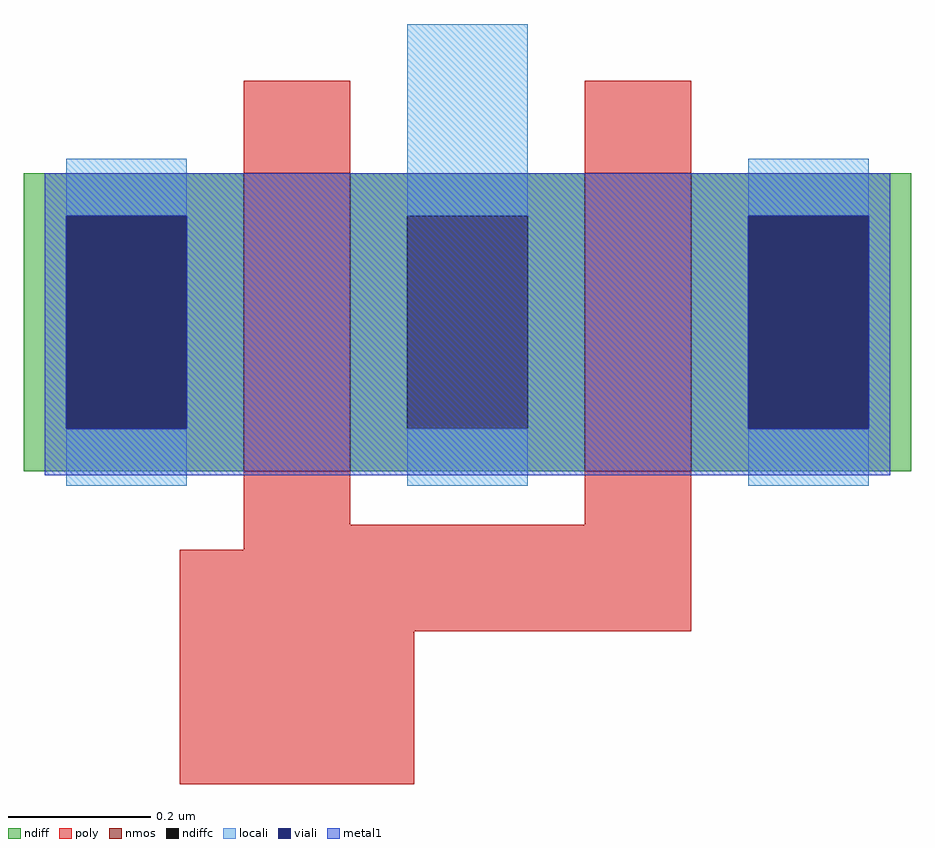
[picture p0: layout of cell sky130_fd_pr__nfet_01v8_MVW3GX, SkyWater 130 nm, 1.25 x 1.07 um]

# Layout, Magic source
magic
tech sky130A
magscale 1 2
<< nmos >>
rect -63 -42 -33 42
rect 33 -42 63 42
<< ndiff >>
rect -125 30 -63 42
rect -125 -30 -113 30
rect -79 -30 -63 30
rect -125 -42 -63 -30
rect -33 30 33 42
rect -33 -30 -17 30
rect 17 -30 33 30
rect -33 -42 33 -30
rect 63 30 125 42
rect 63 -30 79 30
rect 113 -30 125 30
rect 63 -42 125 -30
<< ndiffc >>
rect -113 -30 -79 30
rect -17 -30 17 30
rect 79 -30 113 30
<< poly >>
rect -63 42 -33 68
rect 33 42 63 68
rect -63 -57 -33 -42
rect 33 -57 63 -42
rect -63 -64 63 -57
rect -81 -87 63 -64
rect -81 -130 -15 -87
<< locali >>
rect -113 30 -79 46
rect -113 -46 -79 -30
rect -17 30 17 84
rect -17 -46 17 -30
rect 79 30 113 46
rect 79 -46 113 -30
<< viali >>
rect -113 -30 -79 30
rect 79 -30 113 30
<< metal1 >>
rect -119 30 119 42
rect -119 -30 -113 30
rect -79 -30 79 30
rect 113 -30 119 30
rect -119 -43 119 -30
<< properties >>
string FIXED_BBOX -210 -199 210 199
string gencell sky130_fd_pr__nfet_01v8
string library sky130
string parameters w 0.42 l 0.15 m 1 nf 2 diffcov 100 polycov 100 guard 1 glc 1 grc 1 gtc 1 gbc 1 tbcov 100 rlcov 100 topc 1 botc 1 poverlap 0 doverlap 1 lmin 0.15 wmin 0.42 compatible {sky130_fd_pr__nfet_01v8 sky130_fd_pr__nfet_01v8_lvt  sky130_fd_bs_flash__special_sonosfet_star  sky130_fd_pr__nfet_g5v0d10v5 sky130_fd_pr__nfet_05v0_nvt  sky130_fd_pr__nfet_03v3_nvt} full_metal 1 viasrc 100 viadrn 100 viagate 100 viagb 0 viagr 0 viagl 0 viagt 0
<< end >>
